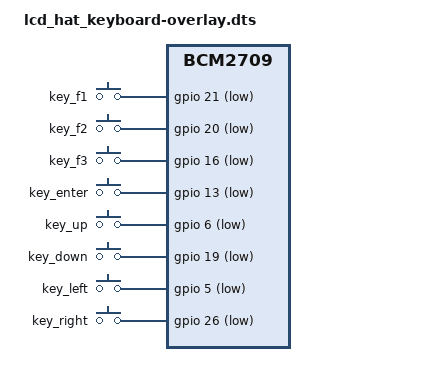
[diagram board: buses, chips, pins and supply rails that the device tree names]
/dts-v1/;
/plugin/;
/ {
    compatible = "brcm,bcm2835", "brcm,bcm2708", "brcm,bcm2709";

    fragment@0 {
        target = <&gpio>;
        __overlay__ {
            butt_pins: butt_pins {
                brcm,pins = <21 20 16 6 19 5 26 13>; // gpio no.
                brcm,function = <0 0 0 0 0 0 0 0>;   // 0:in, 1:out
                brcm,pull = <2 2 2 2 2 2 2 2>;       // 2:up 1:down 0:none
            };
        };
    };

    fragment@1 {
        target-path = "/";
        __overlay__ {
            key123: lcd-hat-keyboard {
                pinctrl-names = "default";
                pinctrl-0 = <&butt_pins>;
                compatible = "gpio-keys";
                status = "okay";
                autorepeat;

                button@21 {
                    label = "key_f1";
                    linux,code = <2>;
                    gpios = <&gpio 21 1>;
                };
                button@20 {
                    label = "key_f2";
                    linux,code = <3>;
                    gpios = <&gpio 20 1>;
                };
                button@16 {
                    label = "key_f3";
                    linux,code = <4>;
                    gpios = <&gpio 16 1>;
                };
            };
        };
    };

    fragment@2 {
        target-path = "/";
        __dormant__ {
            key321: lcd-hat-keyboard {
                pinctrl-names = "default";
                pinctrl-0 = <&butt_pins>;
                compatible = "gpio-keys";
                status = "okay";
                autorepeat;

                button@16 {
                    label = "key_f1";
                    linux,code = <2>;
                    gpios = <&gpio 16 1>;
                };
                button@20 {
                    label = "key_f2";
                    linux,code = <3>;
                    gpios = <&gpio 20 1>;
                };
                button@21 {
                    label = "key_f3";
                    linux,code = <4>;
                    gpios = <&gpio 21 1>;
                };
            };
        };
    };

    fragment@3 {
        target-path = "/";
        __overlay__ {
            key_enter: lcd-hat-keyboard {
                pinctrl-names = "default";
                pinctrl-0 = <&butt_pins>;
                compatible = "gpio-keys";
                status = "okay";
                autorepeat;

                button@13 {
                    label = "key_enter";
                    linux,code = <28>;
                    gpios = <&gpio 13 1>;
                };
            };
        };
    };

    fragment@4 {
        target-path = "/";
        __overlay__ {
            keypad_0: lcd-hat-keyboard {
                pinctrl-names = "default";
                pinctrl-0 = <&butt_pins>;
                compatible = "gpio-keys";
                status = "okay";
                autorepeat;

                button@6 {
                    label = "key_up";
                    linux,code = <103>;
                    gpios = <&gpio 6 1>;
                };
                button@19 {
                    label = "key_down";
                    linux,code = <108>;
                    gpios = <&gpio 19 1>;
                };
                button@5 {
                    label = "key_left";
                    linux,code = <105>;
                    gpios = <&gpio 5 1>;
                };
                button@26 {
                    label = "key_right";
                    linux,code = <106>;
                    gpios = <&gpio 26 1>;
                };
            };
        };
    };

    fragment@5 {
        target-path = "/";
        __dormant__ {
            keypad_90: lcd-hat-keyboard {
                pinctrl-names = "default";
                pinctrl-0 = <&butt_pins>;
                compatible = "gpio-keys";
                status = "okay";
                autorepeat;

                button@26 {
                    label = "key_up";
                    linux,code = <103>;
                    gpios = <&gpio 26 1>;
                };
                button@5 {
                    label = "key_down";
                    linux,code = <108>;
                    gpios = <&gpio 5 1>;
                };
                button@6 {
                    label = "key_left";
                    linux,code = <105>;
                    gpios = <&gpio 6 1>;
                };
                button@19 {
                    label = "key_right";
                    linux,code = <106>;
                    gpios = <&gpio 19 1>;
                };
            };
        };
    };

    fragment@6 {
        target-path = "/";
        __dormant__ {
            keypad_180: lcd-hat-keyboard {
                pinctrl-names = "default";
                pinctrl-0 = <&butt_pins>;
                compatible = "gpio-keys";
                status = "okay";
                autorepeat;

                button@19 {
                    label = "key_up";
                    linux,code = <103>;
                    gpios = <&gpio 19 1>;
                };
                button@6 {
                    label = "key_down";
                    linux,code = <108>;
                    gpios = <&gpio 6 1>;
                };
                button@26 {
                    label = "key_left";
                    linux,code = <105>;
                    gpios = <&gpio 26 1>;
                };
                button@5 {
                    label = "key_right";
                    linux,code = <106>;
                    gpios = <&gpio 5 1>;
                };
            };
        };
    };

    fragment@7 {
        target-path = "/";
        __dormant__ {
            keypad_270: lcd-hat-keyboard {
                pinctrl-names = "default";
                pinctrl-0 = <&butt_pins>;
                compatible = "gpio-keys";
                status = "okay";
                autorepeat;

                button@5 {
                    label = "key_up";
                    linux,code = <103>;
                    gpios = <&gpio 5 1>;
                };
                button@26 {
                    label = "key_down";
                    linux,code = <108>;
                    gpios = <&gpio 26 1>;
                };
                button@19 {
                    label = "key_left";
                    linux,code = <105>;
                    gpios = <&gpio 19 1>;
                };
                button@6 {
                    label = "key_right";
                    linux,code = <106>;
                    gpios = <&gpio 6 1>;
                };
            };
        };
    };

    __overrides__ {
        rot90  = <0>,"+1-2-4+5-6-7";
        rot180 = <0>,"-1+2-4-5+6-7";
        rot270 = <0>,"-1+2-4-5-6+7";
    };
};
